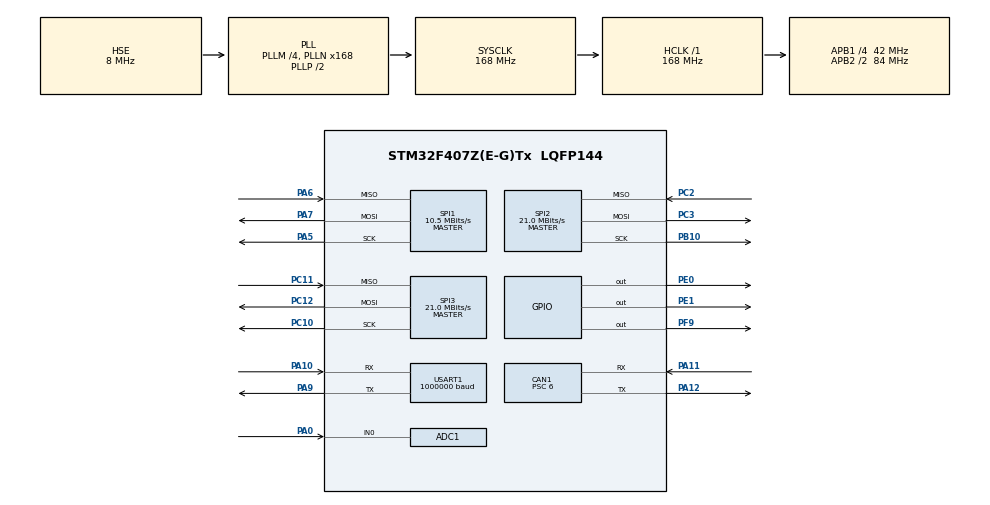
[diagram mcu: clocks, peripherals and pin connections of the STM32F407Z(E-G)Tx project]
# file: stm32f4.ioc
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ADC1.Channel-0\#ChannelRegularConversion=ADC_CHANNEL_0
ADC1.NbrOfConversionFlag=1
ADC1.Rank-0\#ChannelRegularConversion=1
ADC1.SamplingTime-0\#ChannelRegularConversion=ADC_SAMPLETIME_3CYCLES
ADC1.master=1
CAN1.BS1=CAN_BS1_3TQ
CAN1.BS2=CAN_BS2_3TQ
CAN1.CalculateBaudRate=1000000
CAN1.CalculateTimeBit=1000
CAN1.CalculateTimeQuantum=142.85714285714286
CAN1.Prescaler=6
Dma.Request0=USART1_RX
Dma.Request1=USART1_TX
Dma.USART1_RX.0.Direction=DMA_PERIPH_TO_MEMORY
Dma.USART1_RX.0.FIFOMode=DMA_FIFOMODE_DISABLE
Dma.USART1_RX.0.Instance=DMA2_Stream2
Dma.USART1_RX.0.MemDataAlignment=DMA_MDATAALIGN_BYTE
Dma.USART1_RX.0.MemInc=DMA_MINC_ENABLE
Dma.USART1_RX.0.Mode=DMA_NORMAL
Dma.USART1_RX.0.PeriphDataAlignment=DMA_PDATAALIGN_BYTE
Dma.USART1_RX.0.PeriphInc=DMA_PINC_DISABLE
Dma.USART1_RX.0.Priority=DMA_PRIORITY_VERY_HIGH
Dma.USART1_TX.1.Direction=DMA_MEMORY_TO_PERIPH
Dma.USART1_TX.1.FIFOMode=DMA_FIFOMODE_DISABLE
Dma.USART1_TX.1.Instance=DMA2_Stream7
Dma.USART1_TX.1.MemDataAlignment=DMA_MDATAALIGN_BYTE
Dma.USART1_TX.1.MemInc=DMA_MINC_ENABLE
Dma.USART1_TX.1.Mode=DMA_NORMAL
Dma.USART1_TX.1.PeriphDataAlignment=DMA_PDATAALIGN_BYTE
Dma.USART1_TX.1.PeriphInc=DMA_PINC_DISABLE
Dma.USART1_TX.1.Priority=DMA_PRIORITY_LOW
FREERTOS.BinarySemaphores01=sem1,Dynamic,NULL
FREERTOS.Tasks01=defaultTask,24,128,StartDefaultTask,Default,NULL,Dynamic,NULL,NULL;myTask01,48,128,StartTask01,Default,NULL,Dynamic,NULL,NULL;myTask02,40,128,StartTask02,Default,NULL,Dynamic,NULL,NULL;myTask03,41,128,StartTask03,Default,NULL,Dynamic,NULL,NULL
Mcu.Family=STM32F4
Mcu.Name=STM32F407Z(E-G)Tx
Mcu.Package=LQFP144
NVIC.PriorityGroup=NVIC_PRIORITYGROUP_4
NVIC.TIM1_UP_TIM10_IRQn=true\:15\:0\:false\:false\:true\:false\:false\:true\:true
NVIC.TIM2_IRQn=true\:5\:0\:true\:false\:true\:true\:true\:true\:true
NVIC.TimeBase=TIM1_UP_TIM10_IRQn
NVIC.TimeBaseIP=TIM1
NVIC.USART1_IRQn=true\:5\:0\:false\:false\:true\:true\:true\:true\:true
PA0-WKUP.Signal=ADCx_IN0
PA10.Mode=Asynchronous
PA10.Signal=USART1_RX
PA11.Mode=CAN_Activate
PA11.Signal=CAN1_RX
PA12.Mode=CAN_Activate
PA12.Signal=CAN1_TX
PA13.Mode=Serial_Wire
PA13.Signal=SYS_JTMS-SWDIO
PA14.Mode=Serial_Wire
PA14.Signal=SYS_JTCK-SWCLK
PA5.Mode=Full_Duplex_Master
PA5.Signal=SPI1_SCK
PA6.Mode=Full_Duplex_Master
PA6.Signal=SPI1_MISO
PA7.Mode=Full_Duplex_Master
PA7.Signal=SPI1_MOSI
PA9.Mode=Asynchronous
PA9.Signal=USART1_TX
PB10.Mode=Full_Duplex_Master
PB10.Signal=SPI2_SCK
PC10.Mode=Full_Duplex_Master
PC10.Signal=SPI3_SCK
PC11.Mode=Full_Duplex_Master
PC11.Signal=SPI3_MISO
PC12.Mode=Full_Duplex_Master
PC12.Signal=SPI3_MOSI
PC2.Mode=Full_Duplex_Master
PC2.Signal=SPI2_MISO
PC3.Mode=Full_Duplex_Master
PC3.Signal=SPI2_MOSI
PE0.PinState=GPIO_PIN_SET
PE0.Signal=GPIO_Output
PE1.PinState=GPIO_PIN_SET
PE1.Signal=GPIO_Output
PF9.Signal=GPIO_Output
PH0-OSC_IN.Mode=HSE-External-Oscillator
PH0-OSC_IN.Signal=RCC_OSC_IN
PH1-OSC_OUT.Mode=HSE-External-Oscillator
PH1-OSC_OUT.Signal=RCC_OSC_OUT
ProjectManager.HeapSize=0x200
ProjectManager.StackSize=0x400
ProjectManager.TargetToolchain=MDK-ARM V5.32
RCC.48MHZClocksFreq_Value=84000000
RCC.AHBFreq_Value=168000000
RCC.APB1CLKDivider=RCC_HCLK_DIV4
RCC.APB1Freq_Value=42000000
RCC.APB1TimFreq_Value=84000000
RCC.APB2CLKDivider=RCC_HCLK_DIV2
RCC.APB2Freq_Value=84000000
RCC.APB2TimFreq_Value=168000000
RCC.CortexFreq_Value=168000000
RCC.HCLKFreq_Value=168000000
RCC.HSE_VALUE=8000000
RCC.HSI_VALUE=16000000
RCC.LSE_VALUE=32768
RCC.PLLM=4
RCC.PLLN=168
RCC.PLLSourceVirtual=RCC_PLLSOURCE_HSE
RCC.SYSCLKFreq_VALUE=168000000
RCC.SYSCLKSource=RCC_SYSCLKSOURCE_PLLCLK
RCC.VCOOutputFreq_Value=336000000
SH.ADCx_IN0.0=ADC1_IN0,IN0
SPI1.BaudRatePrescaler=SPI_BAUDRATEPRESCALER_8
SPI1.CLKPhase=SPI_PHASE_2EDGE
SPI1.CLKPolarity=SPI_POLARITY_HIGH
SPI1.CalculateBaudRate=10.5 MBits/s
SPI1.Direction=SPI_DIRECTION_2LINES
SPI1.Mode=SPI_MODE_MASTER
SPI1.VirtualType=VM_MASTER
SPI2.CalculateBaudRate=21.0 MBits/s
SPI2.Direction=SPI_DIRECTION_2LINES
SPI2.Mode=SPI_MODE_MASTER
SPI2.VirtualType=VM_MASTER
SPI3.CalculateBaudRate=21.0 MBits/s
SPI3.Direction=SPI_DIRECTION_2LINES
SPI3.Mode=SPI_MODE_MASTER
SPI3.VirtualType=VM_MASTER
TIM2.AutoReloadPreload=TIM_AUTORELOAD_PRELOAD_ENABLE
TIM2.Period=20-1
TIM2.Prescaler=8400-1
USART1.BaudRate=1000000
USART1.VirtualMode=VM_ASYNC
VP_FREERTOS_VS_CMSIS_V2.Mode=CMSIS_V2
VP_SYS_VS_tim1.Mode=TIM1
VP_TIM2_VS_ClockSourceINT.Mode=Internal
board=custom

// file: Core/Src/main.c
/* USER CODE BEGIN Header */
/**
  ******************************************************************************
  * @file           : main.c
  * @brief          : Main program body
  ******************************************************************************
  * @attention
  *
  * Copyright (c) 2024 STMicroelectronics.
  * All rights reserved.
  *
  * This software is licensed under terms that can be found in the LICENSE file
  * in the root directory of this software component.
  * If no LICENSE file comes with this software, it is provided AS-IS.
  *
  ******************************************************************************
  */
/* USER CODE END Header */
#include "main.h"
#include "cmsis_os.h"
#include "adc.h"
#include "can.h"
#include "dma.h"
#include "spi.h"
#include "tim.h"
#include "usart.h"
#include "gpio.h"

/* USER CODE BEGIN Includes */

#include <stdio.h>

/* USER CODE END Includes */

void SystemClock_Config(void);
void MX_FREERTOS_Init(void);

int main(void)
{

  /* MCU Configuration--------------------------------------------------------*/

  /* Reset of all peripherals, Initializes the Flash interface and the Systick. */
  HAL_Init();

  /* Configure the system clock */
  SystemClock_Config();

  /* Initialize all configured peripherals */
  MX_GPIO_Init();
  MX_DMA_Init();
  MX_ADC1_Init();
  MX_CAN1_Init();
  MX_SPI1_Init();
  MX_SPI2_Init();
  MX_SPI3_Init();
  MX_TIM2_Init();
  MX_USART1_UART_Init();
  /* USER CODE BEGIN 2 */

	HAL_TIM_Base_Start_IT(&htim2);
	printf("start\r\n");

  /* USER CODE END 2 */

  /* Init scheduler */
  osKernelInitialize();

  /* Call init function for freertos objects (in cmsis_os2.c) */
  MX_FREERTOS_Init();

  /* Start scheduler */
  osKernelStart();

  /* We should never get here as control is now taken by the scheduler */

  /* Infinite loop */
  while (1)
  {

  }
}

void SystemClock_Config(void)
{
  RCC_OscInitTypeDef RCC_OscInitStruct = {0};
  RCC_ClkInitTypeDef RCC_ClkInitStruct = {0};

  /** Configure the main internal regulator output voltage
  */
  __HAL_RCC_PWR_CLK_ENABLE();
  __HAL_PWR_VOLTAGESCALING_CONFIG(PWR_REGULATOR_VOLTAGE_SCALE1);

  /** Initializes the RCC Oscillators according to the specified parameters
  * in the RCC_OscInitTypeDef structure.
  */
  RCC_OscInitStruct.OscillatorType = RCC_OSCILLATORTYPE_HSE;
  RCC_OscInitStruct.HSEState = RCC_HSE_ON;
  RCC_OscInitStruct.PLL.PLLState = RCC_PLL_ON;
  RCC_OscInitStruct.PLL.PLLSource = RCC_PLLSOURCE_HSE;
  RCC_OscInitStruct.PLL.PLLM = 4;
  RCC_OscInitStruct.PLL.PLLN = 168;
  RCC_OscInitStruct.PLL.PLLP = RCC_PLLP_DIV2;
  RCC_OscInitStruct.PLL.PLLQ = 4;
  if (HAL_RCC_OscConfig(&RCC_OscInitStruct) != HAL_OK)
  {
    Error_Handler();
  }

  /** Initializes the CPU, AHB and APB buses clocks
  */
  RCC_ClkInitStruct.ClockType = RCC_CLOCKTYPE_HCLK|RCC_CLOCKTYPE_SYSCLK
                              |RCC_CLOCKTYPE_PCLK1|RCC_CLOCKTYPE_PCLK2;
  RCC_ClkInitStruct.SYSCLKSource = RCC_SYSCLKSOURCE_PLLCLK;
  RCC_ClkInitStruct.AHBCLKDivider = RCC_SYSCLK_DIV1;
  RCC_ClkInitStruct.APB1CLKDivider = RCC_HCLK_DIV4;
  RCC_ClkInitStruct.APB2CLKDivider = RCC_HCLK_DIV2;

  if (HAL_RCC_ClockConfig(&RCC_ClkInitStruct, FLASH_LATENCY_5) != HAL_OK)
  {
    Error_Handler();
  }
}

void HAL_TIM_PeriodElapsedCallback(TIM_HandleTypeDef *htim)
{
  if (htim->Instance == TIM1) {
    HAL_IncTick();
  }
}

void Error_Handler(void)
{
  __disable_irq();
  while (1)
  {
  }
}

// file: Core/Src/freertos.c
/* USER CODE BEGIN Header */
/**
  ******************************************************************************
  * File Name          : freertos.c
  * Description        : Code for freertos applications
  ******************************************************************************
  * @attention
  *
  * Copyright (c) 2024 STMicroelectronics.
  * All rights reserved.
  *
  * This software is licensed under terms that can be found in the LICENSE file
  * in the root directory of this software component.
  * If no LICENSE file comes with this software, it is provided AS-IS.
  *
  ******************************************************************************
  */
/* USER CODE END Header */

#include "FreeRTOS.h"
#include "task.h"
#include "main.h"
#include "cmsis_os.h"

/* USER CODE BEGIN Includes */

#include "semphr.h"
#include "tmotor_ak_actuators.h"
#include "can.h"
#include <stdio.h>
#include "ADXL.h"

/* USER CODE END Includes */

/* USER CODE BEGIN Variables */

float adxl01_data[3];
float adxl02_data[3];

uint8_t adxl_select = 0;

extern float GAINX;
extern float GAINY;
extern float GAINZ;

/* USER CODE END Variables */
/* Definitions for defaultTask */
osThreadId_t defaultTaskHandle;
const osThreadAttr_t defaultTask_attributes = {
  .name = "defaultTask",
  .stack_size = 128 * 4,
  .priority = (osPriority_t) osPriorityNormal,
};
/* Definitions for myTask01 */
osThreadId_t myTask01Handle;
const osThreadAttr_t myTask01_attributes = {
  .name = "myTask01",
  .stack_size = 128 * 4,
  .priority = (osPriority_t) osPriorityRealtime,
};
/* Definitions for myTask02 */
osThreadId_t myTask02Handle;
const osThreadAttr_t myTask02_attributes = {
  .name = "myTask02",
  .stack_size = 128 * 4,
  .priority = (osPriority_t) osPriorityHigh,
};
/* Definitions for myTask03 */
osThreadId_t myTask03Handle;
const osThreadAttr_t myTask03_attributes = {
  .name = "myTask03",
  .stack_size = 128 * 4,
  .priority = (osPriority_t) osPriorityHigh1,
};
/* Definitions for sem1 */
osSemaphoreId_t sem1Handle;
const osSemaphoreAttr_t sem1_attributes = {
  .name = "sem1"
};

void StartDefaultTask(void *argument);
void StartTask01(void *argument);
void StartTask02(void *argument);
void StartTask03(void *argument);

void MX_FREERTOS_Init(void); /* (MISRA C 2004 rule 8.1) */

void MX_FREERTOS_Init(void) {

  /* Create the semaphores(s) */
  /* creation of sem1 */
  sem1Handle = osSemaphoreNew(1, 0, &sem1_attributes);

  /* Create the thread(s) */
  /* creation of defaultTask */
  defaultTaskHandle = osThreadNew(StartDefaultTask, NULL, &defaultTask_attributes);

  /* creation of myTask01 */
  myTask01Handle = osThreadNew(StartTask01, NULL, &myTask01_attributes);

  /* creation of myTask02 */
  myTask02Handle = osThreadNew(StartTask02, NULL, &myTask02_attributes);

  /* creation of myTask03 */
  myTask03Handle = osThreadNew(StartTask03, NULL, &myTask03_attributes);

}

void StartDefaultTask(void *argument)
{
  /* USER CODE BEGIN StartDefaultTask */
  /* Infinite loop */
  for(;;)
  {
    osDelay(1000);
  }
  /* USER CODE END StartDefaultTask */
}

void StartTask01(void *argument)
{
  /* USER CODE BEGIN StartTask01 */

	// motor control

	// 初始化电机参数
	MotorParameters motorParams = {
			.positionMin = -12.5f,
			.positionMax = 12.5f,
			.velocityMin = -50.0f,
			.velocityMax = 50.0f,
			.torqueMin = -65.0f,
			.torqueMax = 65.0f,
			.kpMin = 0.0f,
			.kpMax = 500.0f,
			.kdMin = 0.0f,
			.kdMax = 5.0f,
	};

	// 初始化一个电机对象
	AkActuators motor1, motor2;
	AkActuators_init(&motor1, 1, motorParams, can_send_msg);
	AkActuators_init(&motor2, 2, motorParams, can_send_msg);

//    // 启动电机
//    AkActuators_enable(&motor1);
//    AkActuators_enable(&motor2);

//    // 控制电机移动到某一位置
//    float targetPosition = 5.0f;  // 目标位置 (弧度)
//    float targetVelocity = 10.0f; // 目标速度 (弧度/秒)
//    float targetTorque = 15.0f;   // 目标扭矩 (牛顿米)
//    float kp = 2.0f;            // PID 控制器的 kp
//    float kd = 0.2f;              // PID 控制器的 kd
//    AkActuators_move(&motor1, targetPosition, targetVelocity, targetTorque, kp, kd);

//    // 等待一段时间来模拟电机运行 (在实际使用中应使用延迟函数)
//    osDelay(3000);

//    // 关闭电机
//    AkActuators_disable(&motor1);

  /* Infinite loop */
  for(;;)
  {

		HAL_GPIO_TogglePin(GPIOF, GPIO_PIN_9);

    osDelay(1000);
  }
  /* USER CODE END StartTask01 */
}

void StartTask02(void *argument)
{
  /* USER CODE BEGIN StartTask02 */

	// serial port communication

  /* Infinite loop */
  for(;;)
  {

		osSemaphoreAcquire(sem1Handle, osWaitForever);

		printf("%f,%f,%f,%f,%f,%f\r\n", adxl01_data[0], adxl01_data[1], adxl01_data[2]
															,adxl02_data[0], adxl02_data[1], adxl02_data[2]);

//    osDelay(1000);
  }
  /* USER CODE END StartTask02 */
}

void StartTask03(void *argument)
{
  /* USER CODE BEGIN StartTask03 */

	// -------------------  spi communication  ------------------
 	// spi init

	ADXL_InitTypeDef adxl01 = {
		SPIMODE_4WIRE,
		INT_ACTIVEHIGH,
		LPMODE_NORMAL,
		BWRATE_3200,
		RANGE_16G,
		RESOLUTION_FULL,
		JUSTIFY_SIGNED,
		AUTOSLEEPOFF,
		LINKMODEOFF
	};

	adxlStatus adxlres;

	adxl_select = 0;
	adxlres = ADXL_Init(&adxl01);
	printf("adxl01_state: %d\r\n", adxlres);
	ADXL_Measure(ON);

	adxl_select = 1;
	adxlres = ADXL_Init(&adxl01);
	printf("adxl02_state: %d\r\n", adxlres);
	ADXL_Measure(ON);

  /* Infinite loop */
  for(;;)
  {
//		uint8_t data[6]={0,0,0,0,0,0};
//		uint8_t address = DATA0;
//		address |= 0x40;
//    address |= (0x80);
//
//		HAL_GPIO_WritePin(GPIOE, GPIO_PIN_0, GPIO_PIN_RESET);
////		HAL_SPI_Transmit(&SPIhandler,&address, 1, HAL_MAX_DELAY);
////		HAL_SPI_Receive(&SPIhandler, data, sizeof(data), HAL_MAX_DELAY);
//		HAL_SPI_TransmitReceive(&SPIhandler, &address, data, sizeof(data), HAL_MAX_DELAY);
//		HAL_GPIO_WritePin(GPIOE, GPIO_PIN_0, GPIO_PIN_SET);

//		adxl01_data[0] = (float)(data[1]<<8 | data[0])*GAINX;
////		adxl01_data[0] = ( (int16_t) ((data[1]*256+data[0])))*GAINX;
//		adxl01_data[1] = ( (int16_t) ((data[3]*256+data[2])))*GAINY;
//		adxl01_data[2] = ( (int16_t) ((data[5]*256+data[4])))*GAINZ;

		// =============================================================

//		HAL_GPIO_WritePin(GPIOE, GPIO_PIN_1, GPIO_PIN_RESET);
//		HAL_SPI_TransmitReceive(&SPIhandler, &address, data, sizeof(data), HAL_MAX_DELAY);
//		HAL_GPIO_WritePin(GPIOE, GPIO_PIN_1, GPIO_PIN_SET);
//
//		float * fdata2 = adxl02_data;
//		fdata2[0] = ( (int16_t) ((data[1]*256+data[0])))*GAINX;
//		fdata2[1] = ( (int16_t) ((data[3]*256+data[2])))*GAINY;
//		fdata2[2] = ( (int16_t) ((data[5]*256+data[4])))*GAINZ;

		adxl_select = 0;
		ADXL_getAccel(adxl01_data, OUTPUT_FLOAT);

		osDelay(1);

		adxl_select = 1;
		ADXL_getAccel(adxl02_data, OUTPUT_FLOAT);

//		printf("%f\r\n", GAINX);
//		printf("%f,%f,%f,%f,%f,%f\r\n", adxl01_data[0], adxl01_data[1], adxl01_data[2]
//																	,adxl02_data[0], adxl02_data[1], adxl02_data[2]);

    osDelay(1);
  }
  /* USER CODE END StartTask03 */
}
